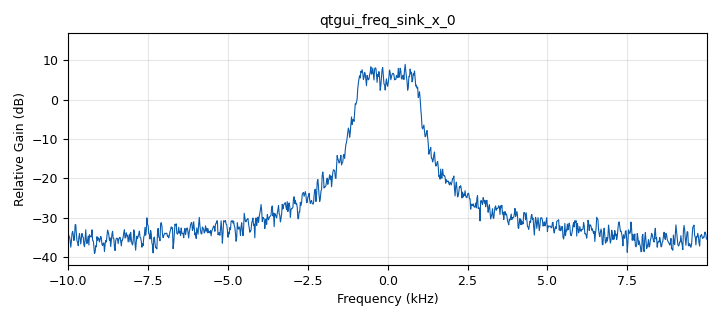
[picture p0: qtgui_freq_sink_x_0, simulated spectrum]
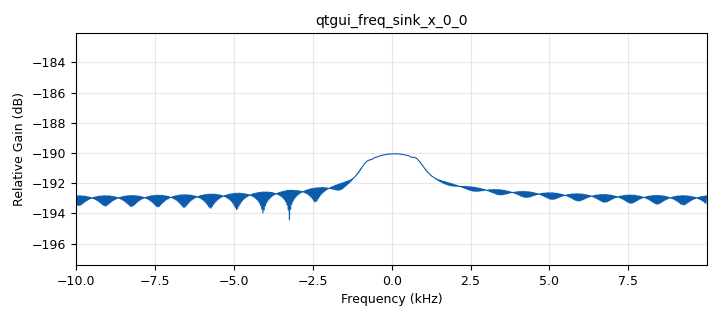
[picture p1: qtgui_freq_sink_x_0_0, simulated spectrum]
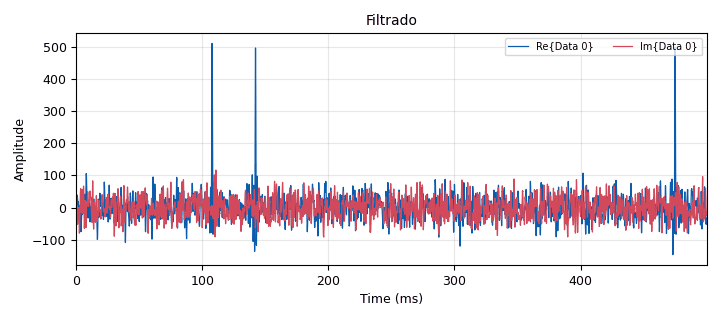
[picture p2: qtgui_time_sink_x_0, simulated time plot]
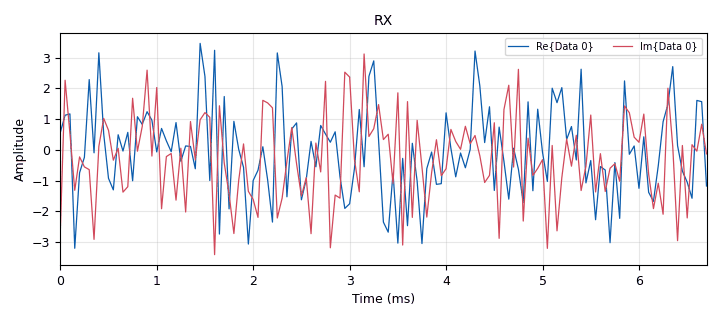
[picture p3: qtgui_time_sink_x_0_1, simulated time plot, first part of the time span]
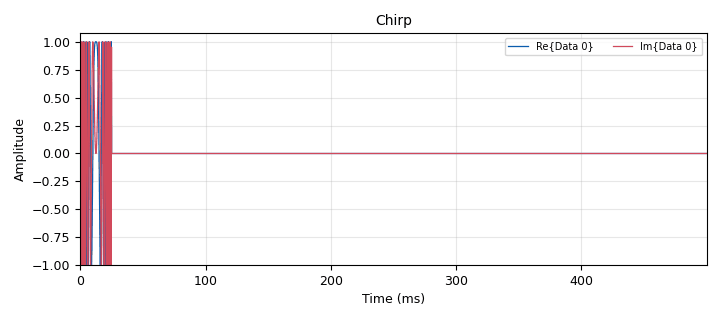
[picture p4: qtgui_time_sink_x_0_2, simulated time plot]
<?xml version='1.0' encoding='utf-8'?>
<?grc format='1' created='3.7.13'?>
<flow_graph>
<block>
<key>options</key>
<param><key>id</key><value>top_block</value></param>
<param><key>generate_options</key><value>qt_gui</value></param>
</block>
<block>
<key>variable_qtgui_range</key>
<param><key>id</key><value>AN</value></param>
<param><key>value</key><value>2</value></param>
<param><key>orient</key><value>Qt.Horizontal</value></param>
<param><key>start</key><value>0</value></param>
<param><key>step</key><value>0.5</value></param>
<param><key>stop</key><value>7</value></param>
</block>
<block>
<key>variable</key>
<param><key>id</key><value>N</value></param>
<param><key>value</key><value>p*Tp*W</value></param>
</block>
<block>
<key>variable</key>
<param><key>id</key><value>Np</value></param>
<param><key>value</key><value>5</value></param>
</block>
<block>
<key>variable_qtgui_range</key>
<param><key>id</key><value>R1</value></param>
<param><key>value</key><value>60</value></param>
<param><key>orient</key><value>Qt.Horizontal</value></param>
<param><key>start</key><value>min_range</value></param>
<param><key>step</key><value>0.05</value></param>
<param><key>stop</key><value>max_range</value></param>
</block>
<block>
<key>variable_qtgui_range</key>
<param><key>id</key><value>R2</value></param>
<param><key>value</key><value>85</value></param>
<param><key>orient</key><value>Qt.Horizontal</value></param>
<param><key>start</key><value>min_range</value></param>
<param><key>step</key><value>0.05</value></param>
<param><key>stop</key><value>max_range</value></param>
</block>
<block>
<key>variable_qtgui_range</key>
<param><key>id</key><value>R3</value></param>
<param><key>value</key><value>max_range-min_range</value></param>
<param><key>orient</key><value>Qt.Horizontal</value></param>
<param><key>start</key><value>min_range</value></param>
<param><key>step</key><value>0.05</value></param>
<param><key>stop</key><value>max_range</value></param>
</block>
<block>
<key>variable</key>
<param><key>id</key><value>Tp</value></param>
<param><key>value</key><value>0.025</value></param>
</block>
<block>
<key>variable_qtgui_range</key>
<param><key>id</key><value>V1</value></param>
<param><key>value</key><value>max_velocity/2</value></param>
<param><key>_enabled</key><value>0</value></param>
<param><key>orient</key><value>Qt.Horizontal</value></param>
<param><key>start</key><value>0</value></param>
<param><key>step</key><value>0.5</value></param>
<param><key>stop</key><value>max_velocity</value></param>
</block>
<block>
<key>variable_qtgui_range</key>
<param><key>id</key><value>V2</value></param>
<param><key>value</key><value>max_velocity/4</value></param>
<param><key>_enabled</key><value>0</value></param>
<param><key>orient</key><value>Qt.Horizontal</value></param>
<param><key>start</key><value>0</value></param>
<param><key>step</key><value>0.5</value></param>
<param><key>stop</key><value>max_velocity</value></param>
</block>
<block>
<key>variable_qtgui_range</key>
<param><key>id</key><value>V3</value></param>
<param><key>value</key><value>max_velocity*3/4</value></param>
<param><key>_enabled</key><value>0</value></param>
<param><key>orient</key><value>Qt.Horizontal</value></param>
<param><key>start</key><value>0</value></param>
<param><key>step</key><value>0.5</value></param>
<param><key>stop</key><value>max_velocity</value></param>
</block>
<block>
<key>variable</key>
<param><key>id</key><value>W</value></param>
<param><key>value</key><value>2e3</value></param>
</block>
<block>
<key>variable</key>
<param><key>id</key><value>alpha</value></param>
<param><key>value</key><value>1/(2*p*p*Tp*W)</value></param>
</block>
<block>
<key>variable</key>
<param><key>id</key><value>c</value></param>
<param><key>value</key><value>1450</value></param>
</block>
<block>
<key>variable</key>
<param><key>id</key><value>chirp</value></param>
<param><key>value</key><value>np.exp(1j*2*np.pi*alpha*(n-0.5*N)**2)</value></param>
</block>
<block>
<key>variable</key>
<param><key>id</key><value>fc</value></param>
<param><key>value</key><value>50e3</value></param>
</block>
<block>
<key>variable</key>
<param><key>id</key><value>h</value></param>
<param><key>value</key><value>np.exp(-1j*2*np.pi*alpha*(n-0.5*N)**2)</value></param>
</block>
<block>
<key>variable</key>
<param><key>id</key><value>max_range</value></param>
<param><key>value</key><value>(z-Tp)/2*c</value></param>
</block>
<block>
<key>variable</key>
<param><key>id</key><value>max_velocity</value></param>
<param><key>_enabled</key><value>0</value></param>
<param><key>value</key><value> c/(4*z*fc)*3.6</value></param>
</block>
<block>
<key>variable</key>
<param><key>id</key><value>min_range</value></param>
<param><key>value</key><value>(Tp)*c/2</value></param>
</block>
<block>
<key>variable</key>
<param><key>id</key><value>n</value></param>
<param><key>value</key><value>np.arange(0,N)</value></param>
</block>
<block>
<key>variable</key>
<param><key>id</key><value>p</value></param>
<param><key>value</key><value>10</value></param>
</block>
<block>
<key>variable</key>
<param><key>id</key><value>samp_rate</value></param>
<param><key>value</key><value>p*W</value></param>
</block>
<block>
<key>variable_qtgui_range</key>
<param><key>id</key><value>z</value></param>
<param><key>value</key><value>0.5</value></param>
<param><key>orient</key><value>Qt.Horizontal</value></param>
<param><key>start</key><value>0.2</value></param>
<param><key>step</key><value>0.05</value></param>
<param><key>stop</key><value>1.45</value></param>
</block>
<block>
<key>analog_noise_source_x</key>
<param><key>id</key><value>analog_noise_source_x_0</value></param>
<param><key>amp</key><value>2</value></param>
<param><key>noise_type</key><value>analog.GR_GAUSSIAN</value></param>
<param><key>type</key><value>complex</value></param>
<param><key>seed</key><value>0</value></param>
</block>
<block>
<key>analog_sig_source_x</key>
<param><key>id</key><value>analog_sig_source_x_0</value></param>
<param><key>amp</key><value>1</value></param>
<param><key>_enabled</key><value>0</value></param>
<param><key>freq</key><value>fc</value></param>
<param><key>offset</key><value>0</value></param>
<param><key>type</key><value>complex</value></param>
<param><key>samp_rate</key><value>samp_rate</value></param>
<param><key>waveform</key><value>analog.GR_COS_WAVE</value></param>
</block>
<block>
<key>analog_sig_source_x</key>
<param><key>id</key><value>analog_sig_source_x_0_1</value></param>
<param><key>amp</key><value>1</value></param>
<param><key>_enabled</key><value>0</value></param>
<param><key>freq</key><value>2*fc*(V1/c)</value></param>
<param><key>offset</key><value>0</value></param>
<param><key>type</key><value>complex</value></param>
<param><key>samp_rate</key><value>samp_rate</value></param>
<param><key>waveform</key><value>analog.GR_COS_WAVE</value></param>
</block>
<block>
<key>audio_sink</key>
<param><key>id</key><value>audio_sink_0</value></param>
<param><key>_enabled</key><value>0</value></param>
<param><key>samp_rate</key><value>int(samp_rate)</value></param>
</block>
<block>
<key>blocks_add_xx</key>
<param><key>id</key><value>blocks_add_xx_0</value></param>
<param><key>type</key><value>complex</value></param>
<param><key>num_inputs</key><value>4</value></param>
</block>
<block>
<key>blocks_complex_to_real</key>
<param><key>id</key><value>blocks_complex_to_real_0</value></param>
<param><key>_enabled</key><value>0</value></param>
</block>
<block>
<key>blocks_delay</key>
<param><key>id</key><value>blocks_delay_0</value></param>
<param><key>delay</key><value>int(2*R1/(c/samp_rate)) </value></param>
<param><key>type</key><value>complex</value></param>
</block>
<block>
<key>blocks_delay</key>
<param><key>id</key><value>blocks_delay_0_0</value></param>
<param><key>delay</key><value>int(2*R2/(c/samp_rate)) </value></param>
<param><key>type</key><value>complex</value></param>
</block>
<block>
<key>blocks_delay</key>
<param><key>id</key><value>blocks_delay_0_1</value></param>
<param><key>delay</key><value>int(2*R3/(c/samp_rate)) </value></param>
<param><key>type</key><value>complex</value></param>
</block>
<block>
<key>blocks_file_sink</key>
<param><key>id</key><value>blocks_file_sink_0</value></param>
<param><key>_enabled</key><value>0</value></param>
<param><key>file</key><value>C:\Users\faust\Pessoal\2020-1\LabPRINCOM\projetofinal\modelo_atual\output.bin</value></param>
<param><key>type</key><value>complex</value></param>
</block>
<block>
<key>blocks_file_sink</key>
<param><key>id</key><value>blocks_file_sink_0_0</value></param>
<param><key>_enabled</key><value>0</value></param>
<param><key>file</key><value>C:\Users\faust\Pessoal\2020-1\LabPRINCOM\projetofinal\modelo_atual\signal_tx.bin</value></param>
<param><key>type</key><value>complex</value></param>
</block>
<block>
<key>blocks_file_sink</key>
<param><key>id</key><value>blocks_file_sink_0_0_0</value></param>
<param><key>file</key><value>C:\Users\faust\Pessoal\2020-1\LabPRINCOM\projetofinal\modelo_atual\chirp.bin</value></param>
<param><key>type</key><value>complex</value></param>
</block>
<block>
<key>blocks_file_sink</key>
<param><key>id</key><value>blocks_file_sink_0_0_1</value></param>
<param><key>_enabled</key><value>0</value></param>
<param><key>file</key><value>C:\Users\faust\Pessoal\2020-1\LabPRINCOM\projetofinal\modelo_atual\signal_rx.bin</value></param>
<param><key>type</key><value>complex</value></param>
</block>
<block>
<key>blocks_multiply_xx</key>
<param><key>id</key><value>blocks_multiply_xx_0</value></param>
<param><key>_enabled</key><value>0</value></param>
<param><key>type</key><value>complex</value></param>
</block>
<block>
<key>blocks_multiply_xx</key>
<param><key>id</key><value>blocks_multiply_xx_0_1</value></param>
<param><key>_enabled</key><value>0</value></param>
<param><key>type</key><value>complex</value></param>
</block>
<block>
<key>blocks_throttle</key>
<param><key>id</key><value>blocks_throttle_0</value></param>
<param><key>samples_per_second</key><value>samp_rate</value></param>
<param><key>type</key><value>complex</value></param>
</block>
<block>
<key>blocks_vector_source_x</key>
<param><key>id</key><value>blocks_vector_source_x_0</value></param>
<param><key>type</key><value>complex</value></param>
<param><key>repeat</key><value>True</value></param>
<param><key>vector</key><value>np.tile(np.append(chirp,np.zeros(int(p*W*(z-Tp)))),Np)</value></param>
</block>
<block>
<key>blocks_vector_source_x</key>
<param><key>id</key><value>blocks_vector_source_x_0_0</value></param>
<param><key>type</key><value>complex</value></param>
<param><key>repeat</key><value>False</value></param>
<param><key>vector</key><value>chirp</value></param>
</block>
<block>
<key>fir_filter_xxx</key>
<param><key>id</key><value>fir_filter_xxx_0</value></param>
<param><key>decim</key><value>1</value></param>
<param><key>taps</key><value>h</value></param>
<param><key>type</key><value>ccc</value></param>
</block>
<block>
<key>import</key>
<param><key>id</key><value>import_0</value></param>
<param><key>import</key><value>import numpy as np</value></param>
</block>
<block>
<key>qtgui_freq_sink_x</key>
<param><key>id</key><value>qtgui_freq_sink_x_0</value></param>
<param><key>autoscale</key><value>True</value></param>
<param><key>average</key><value>0.05</value></param>
<param><key>bw</key><value>samp_rate</value></param>
<param><key>fc</key><value>0</value></param>
<param><key>fftsize</key><value>1024</value></param>
<param><key>grid</key><value>True</value></param>
<param><key>showports</key><value>True</value></param>
<param><key>type</key><value>complex</value></param>
<param><key>wintype</key><value>firdes.WIN_BLACKMAN_hARRIS</value></param>
</block>
<block>
<key>qtgui_freq_sink_x</key>
<param><key>id</key><value>qtgui_freq_sink_x_0_0</value></param>
<param><key>autoscale</key><value>True</value></param>
<param><key>average</key><value>0.05</value></param>
<param><key>bw</key><value>samp_rate</value></param>
<param><key>fc</key><value>0</value></param>
<param><key>fftsize</key><value>1024</value></param>
<param><key>grid</key><value>True</value></param>
<param><key>showports</key><value>True</value></param>
<param><key>type</key><value>complex</value></param>
<param><key>wintype</key><value>firdes.WIN_BLACKMAN_hARRIS</value></param>
</block>
<block>
<key>qtgui_time_sink_x</key>
<param><key>id</key><value>qtgui_time_sink_x_0</value></param>
<param><key>autoscale</key><value>True</value></param>
<param><key>color1</key><value>"blue"</value></param>
<param><key>label1</key><value></value></param>
<param><key>color2</key><value>"red"</value></param>
<param><key>label2</key><value></value></param>
<param><key>name</key><value>"Filtrado"</value></param>
<param><key>size</key><value>int(N)+int(p*W*(z-Tp))</value></param>
<param><key>srate</key><value>samp_rate</value></param>
<param><key>type</key><value>complex</value></param>
</block>
<block>
<key>qtgui_time_sink_x</key>
<param><key>id</key><value>qtgui_time_sink_x_0_1</value></param>
<param><key>autoscale</key><value>True</value></param>
<param><key>color1</key><value>"blue"</value></param>
<param><key>label1</key><value></value></param>
<param><key>color2</key><value>"red"</value></param>
<param><key>label2</key><value></value></param>
<param><key>name</key><value>"RX"</value></param>
<param><key>size</key><value>int(N)+int(p*W*(z-Tp))</value></param>
<param><key>srate</key><value>samp_rate</value></param>
<param><key>type</key><value>complex</value></param>
</block>
<block>
<key>qtgui_time_sink_x</key>
<param><key>id</key><value>qtgui_time_sink_x_0_2</value></param>
<param><key>color1</key><value>"blue"</value></param>
<param><key>label1</key><value></value></param>
<param><key>color2</key><value>"red"</value></param>
<param><key>label2</key><value></value></param>
<param><key>name</key><value>"Chirp"</value></param>
<param><key>size</key><value>int(N)+int(p*W*(z-Tp))</value></param>
<param><key>srate</key><value>samp_rate</value></param>
<param><key>type</key><value>complex</value></param>
</block>
<connection><source_block_id>analog_noise_source_x_0</source_block_id><sink_block_id>blocks_add_xx_0</sink_block_id><source_key>0</source_key><sink_key>0</sink_key></connection>
<connection><source_block_id>analog_sig_source_x_0</source_block_id><sink_block_id>blocks_multiply_xx_0</sink_block_id><source_key>0</source_key><sink_key>0</sink_key></connection>
<connection><source_block_id>analog_sig_source_x_0_1</source_block_id><sink_block_id>blocks_multiply_xx_0_1</sink_block_id><source_key>0</source_key><sink_key>1</sink_key></connection>
<connection><source_block_id>blocks_add_xx_0</source_block_id><sink_block_id>blocks_file_sink_0_0_1</sink_block_id><source_key>0</source_key><sink_key>0</sink_key></connection>
<connection><source_block_id>blocks_add_xx_0</source_block_id><sink_block_id>fir_filter_xxx_0</sink_block_id><source_key>0</source_key><sink_key>0</sink_key></connection>
<connection><source_block_id>blocks_add_xx_0</source_block_id><sink_block_id>qtgui_time_sink_x_0_1</sink_block_id><source_key>0</source_key><sink_key>0</sink_key></connection>
<connection><source_block_id>blocks_complex_to_real_0</source_block_id><sink_block_id>audio_sink_0</sink_block_id><source_key>0</source_key><sink_key>0</sink_key></connection>
<connection><source_block_id>blocks_delay_0</source_block_id><sink_block_id>blocks_add_xx_0</sink_block_id><source_key>0</source_key><sink_key>1</sink_key></connection>
<connection><source_block_id>blocks_delay_0_0</source_block_id><sink_block_id>blocks_add_xx_0</sink_block_id><source_key>0</source_key><sink_key>2</sink_key></connection>
<connection><source_block_id>blocks_delay_0_1</source_block_id><sink_block_id>blocks_add_xx_0</sink_block_id><source_key>0</source_key><sink_key>3</sink_key></connection>
<connection><source_block_id>blocks_throttle_0</source_block_id><sink_block_id>blocks_complex_to_real_0</sink_block_id><source_key>0</source_key><sink_key>0</sink_key></connection>
<connection><source_block_id>blocks_throttle_0</source_block_id><sink_block_id>blocks_delay_0</sink_block_id><source_key>0</source_key><sink_key>0</sink_key></connection>
<connection><source_block_id>blocks_throttle_0</source_block_id><sink_block_id>blocks_delay_0_0</sink_block_id><source_key>0</source_key><sink_key>0</sink_key></connection>
<connection><source_block_id>blocks_throttle_0</source_block_id><sink_block_id>blocks_delay_0_1</sink_block_id><source_key>0</source_key><sink_key>0</sink_key></connection>
<connection><source_block_id>blocks_throttle_0</source_block_id><sink_block_id>blocks_file_sink_0_0</sink_block_id><source_key>0</source_key><sink_key>0</sink_key></connection>
<connection><source_block_id>blocks_throttle_0</source_block_id><sink_block_id>qtgui_freq_sink_x_0_0</sink_block_id><source_key>0</source_key><sink_key>0</sink_key></connection>
<connection><source_block_id>blocks_throttle_0</source_block_id><sink_block_id>qtgui_time_sink_x_0_2</sink_block_id><source_key>0</source_key><sink_key>0</sink_key></connection>
<connection><source_block_id>blocks_vector_source_x_0</source_block_id><sink_block_id>blocks_throttle_0</sink_block_id><source_key>0</source_key><sink_key>0</sink_key></connection>
<connection><source_block_id>blocks_vector_source_x_0_0</source_block_id><sink_block_id>blocks_file_sink_0_0_0</sink_block_id><source_key>0</source_key><sink_key>0</sink_key></connection>
<connection><source_block_id>fir_filter_xxx_0</source_block_id><sink_block_id>blocks_file_sink_0</sink_block_id><source_key>0</source_key><sink_key>0</sink_key></connection>
<connection><source_block_id>fir_filter_xxx_0</source_block_id><sink_block_id>qtgui_freq_sink_x_0</sink_block_id><source_key>0</source_key><sink_key>0</sink_key></connection>
<connection><source_block_id>fir_filter_xxx_0</source_block_id><sink_block_id>qtgui_time_sink_x_0</sink_block_id><source_key>0</source_key><sink_key>0</sink_key></connection>
</flow_graph>
